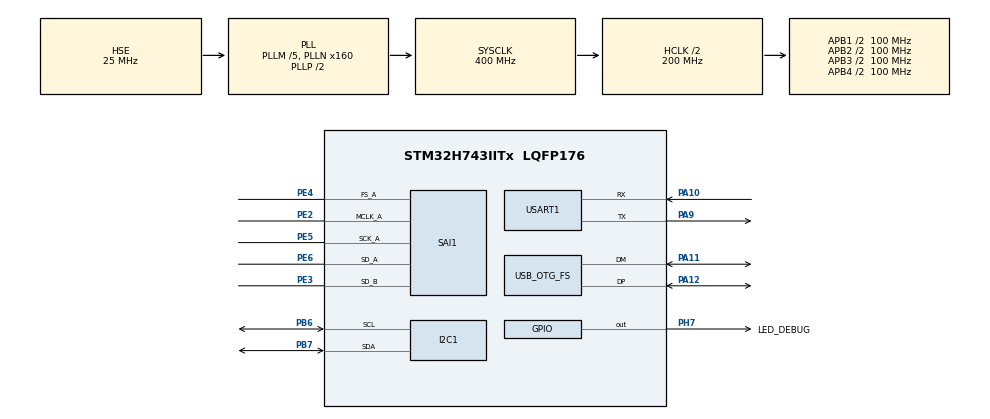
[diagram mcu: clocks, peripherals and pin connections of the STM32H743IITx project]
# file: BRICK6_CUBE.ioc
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CORTEX_M7.default_mode_Activation=1
Dma.Request0=SAI1_A
Dma.SAI1_A.0.Direction=DMA_MEMORY_TO_PERIPH
Dma.SAI1_A.0.EventEnable=DISABLE
Dma.SAI1_A.0.FIFOMode=DMA_FIFOMODE_ENABLE
Dma.SAI1_A.0.FIFOThreshold=DMA_FIFO_THRESHOLD_1QUARTERFULL
Dma.SAI1_A.0.Instance=DMA1_Stream0
Dma.SAI1_A.0.MemBurst=DMA_MBURST_SINGLE
Dma.SAI1_A.0.MemDataAlignment=DMA_MDATAALIGN_WORD
Dma.SAI1_A.0.MemInc=DMA_MINC_ENABLE
Dma.SAI1_A.0.Mode=DMA_CIRCULAR
Dma.SAI1_A.0.PeriphBurst=DMA_PBURST_SINGLE
Dma.SAI1_A.0.PeriphDataAlignment=DMA_PDATAALIGN_WORD
Dma.SAI1_A.0.PeriphInc=DMA_PINC_DISABLE
Dma.SAI1_A.0.Polarity=HAL_DMAMUX_REQ_GEN_RISING
Dma.SAI1_A.0.Priority=DMA_PRIORITY_HIGH
Dma.SAI1_A.0.RequestNumber=1
Dma.SAI1_A.0.SignalID=NONE
Dma.SAI1_A.0.SyncEnable=DISABLE
Dma.SAI1_A.0.SyncPolarity=HAL_DMAMUX_SYNC_NO_EVENT
Dma.SAI1_A.0.SyncRequestNumber=1
Dma.SAI1_A.0.SyncSignalID=NONE
I2C1.Timing=0x10C0ECFF
Mcu.Family=STM32H7
Mcu.Name=STM32H743IITx
Mcu.Package=LQFP176
NVIC.DMA1_Stream0_IRQn=true\:0\:0\:false\:false\:true\:false\:true\:true
NVIC.OTG_FS_IRQn=true\:5\:0\:true\:false\:true\:true\:true\:true
NVIC.PriorityGroup=NVIC_PRIORITYGROUP_4
NVIC.SAI1_IRQn=true\:5\:0\:true\:false\:true\:true\:true\:true
PA10.Mode=Asynchronous
PA10.Signal=USART1_RX
PA11.Mode=Device_Only
PA11.Signal=USB_OTG_FS_DM
PA12.Mode=Device_Only
PA12.Signal=USB_OTG_FS_DP
PA9.Mode=Asynchronous
PA9.Signal=USART1_TX
PB6.Mode=I2C
PB6.Signal=I2C1_SCL
PB7.Mode=I2C
PB7.Signal=I2C1_SDA
PE2.Mode=SAI_A_MasterWithClock
PE2.Signal=SAI1_MCLK_A
PE3.Mode=SAI_B_SyncSlave
PE3.Signal=SAI1_SD_B
PE4.Mode=SAI_A_MasterWithClock
PE4.Signal=SAI1_FS_A
PE5.Mode=SAI_A_MasterWithClock
PE5.Signal=SAI1_SCK_A
PE6.Mode=SAI_A_MasterWithClock
PE6.Signal=SAI1_SD_A
PH0-OSC_IN\ (PH0).Mode=HSE-External-Oscillator
PH0-OSC_IN\ (PH0).Signal=RCC_OSC_IN
PH1-OSC_OUT\ (PH1).Mode=HSE-External-Oscillator
PH1-OSC_OUT\ (PH1).Signal=RCC_OSC_OUT
PH7.GPIO_Label=LED_DEBUG
PH7.Signal=GPIO_Output
ProjectManager.HeapSize=0x200
ProjectManager.StackSize=0x400
ProjectManager.TargetToolchain=STM32CubeIDE
RCC.ADCFreq_Value=12288000.48828125
RCC.APB1Freq_Value=100000000
RCC.APB2Freq_Value=100000000
RCC.APB3Freq_Value=100000000
RCC.APB4Freq_Value=100000000
RCC.CortexFreq_Value=400000000
RCC.D1PPRE=RCC_APB3_DIV2
RCC.D2PPRE1=RCC_APB1_DIV2
RCC.D2PPRE2=RCC_APB2_DIV2
RCC.D3PPRE=RCC_APB4_DIV2
RCC.DIVM1=5
RCC.DIVM2=25
RCC.DIVM3=25
RCC.DIVN1=160
RCC.DIVN2=491
RCC.DIVN3=336
RCC.DIVP2=40
RCC.DIVQ1=4
RCC.DIVQ3=7
RCC.HCLKFreq_Value=200000000
RCC.HPRE=RCC_HCLK_DIV2
RCC.PLL2FRACN=4260
RCC.PLL3FRACN=0
RCC.PLLFRACN=0
RCC.PLLSourceVirtual=RCC_PLLSOURCE_HSE
RCC.SAI1CLockSelection=RCC_SAI1CLKSOURCE_PLL2
RCC.SYSCLKFreq_VALUE=400000000
RCC.SYSCLKSource=RCC_SYSCLKSOURCE_PLLCLK
RCC.USBCLockSelection=RCC_USBCLKSOURCE_PLL3
RCC.USBFreq_Value=48000000
SAI1.ActiveFrameLength-SAI_A_MasterWithClock=1
SAI1.AudioFrequency-SAI_A_MasterWithClock=SAI_AUDIO_FREQUENCY_48K
SAI1.AudioMode-SAI_A_MasterWithClock=SAI_MODEMASTER_TX
SAI1.DataSize-SAI_A_MasterWithClock=SAI_DATASIZE_24
SAI1.DataSize-SAI_B_SyncSlave=SAI_DATASIZE_24
SAI1.ErrorAudioFreq-SAI_A_MasterWithClock=0.0 %
SAI1.FIFOThreshold-SAI_A_MasterWithClock=SAI_FIFOTHRESHOLD_1QF
SAI1.FrameLength-SAI_A_MasterWithClock=256
SAI1.FrameLength-SAI_B_SyncSlave=256
SAI1.Instance-SAI_A_MasterWithClock=SAI$Index_Block_A
SAI1.Instance-SAI_B_SyncSlave=SAI$Index_Block_B
SAI1.MClockEnable-SAI_A_MasterWithClock=SAI_MASTERCLOCK_ENABLE
SAI1.RealAudioFreq-SAI_A_MasterWithClock=48.0 KHz
SAI1.SlotActive-SAI_A_MasterWithClock=0x0000000F
SAI1.SlotActive-SAI_B_SyncSlave=0x0000FFFF
SAI1.SlotNumber-SAI_A_MasterWithClock=8
SAI1.SlotNumber-SAI_B_SyncSlave=8
SAI1.SlotSize-SAI_A_MasterWithClock=SAI_SLOTSIZE_32B
SAI1.SlotSize-SAI_B_SyncSlave=SAI_SLOTSIZE_32B
SAI1.SynchroExt=SAI_SYNCEXT_OUTBLOCKA_ENABLE
SAI1.VirtualMode-SAI_A_MasterWithClock=VM_MASTER
SAI1.VirtualMode-SAI_B_SyncSlave=VM_SLAVE
SAI1.VirtualSlotActive-SAI_A_MasterWithClock=SAI_SLOT_USERSETTING
SAI1.VirtualSlotActive-SAI_B_SyncSlave=SAI_SLOTACTIVE_ALL
SAI1.VirtualSlotActive0-SAI_A_MasterWithClock=true
SAI1.VirtualSlotActive1-SAI_A_MasterWithClock=true
SAI1.VirtualSlotActive2-SAI_A_MasterWithClock=true
SAI1.VirtualSlotActive3-SAI_A_MasterWithClock=true
USART1.VirtualMode-Asynchronous=VM_ASYNC
USB_DEVICE.CLASS_NAME_FS=AUDIO
USB_DEVICE.USBD_AUDIO_FREQ-AUDIO_FS=48000
USB_DEVICE.VirtualMode-AUDIO_FS=Audio
USB_DEVICE.VirtualModeFS=Audio_FS
USB_OTG_FS.VirtualMode=Device_Only
VP_MEMORYMAP_VS_MEMORYMAP.Mode=CurAppReg
VP_SAI1_VP_$IpInstance_SYNCHRO_EXTERNAL.Mode=SynchroExternal
VP_USB_DEVICE_VS_USB_DEVICE_AUDIO_FS.Mode=AUDIO_FS
board=custom

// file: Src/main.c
/* USER CODE BEGIN Header */
/**
  ******************************************************************************
  * @file           : main.c
  * @brief          : Main program body
  ******************************************************************************
  * @attention
  *
  * Copyright (c) 2026 STMicroelectronics.
  * All rights reserved.
  *
  * This software is licensed under terms that can be found in the LICENSE file
  * in the root directory of this software component.
  * If no LICENSE file comes with this software, it is provided AS-IS.
  *
  ******************************************************************************
  */
/* USER CODE END Header */
#include "main.h"
#include "dma.h"
#include "i2c.h"
#include "sai.h"
#include "usart.h"
#include "usb_device.h"
#include "gpio.h"

/* USER CODE BEGIN Includes */
#include <stdio.h>
#include <string.h>
#include "adau1979.h"
#include "audio_in.h"
#include "audio_out.h"
/* USER CODE END Includes */

void SystemClock_Config(void);
void PeriphCommonClock_Config(void);
static void MPU_Config(void);

/* USER CODE BEGIN 0 */

static void uart_log(const char *message)
{
  (void)HAL_UART_Transmit(&huart1, (uint8_t *)message, (uint16_t)strlen(message), 10);
}
static void compute_audio_freq(void)
{
  char buf[256];

  uint32_t sai_clk = HAL_RCCEx_GetPeriphCLKFreq(RCC_PERIPHCLK_SAI1);

  // MCKDIV bits = CR1[23:20]
  uint32_t mckdiv = (SAI1_Block_A->CR1 >> 20) & 0xF;
  uint32_t presc = (mckdiv == 0) ? 1 : (mckdiv * 2);

  // 8 slots * 32 bits = 256 bits par frame
  uint32_t fs = sai_clk / (256 * presc);

  snprintf(buf, sizeof(buf),
           "AUDIO COMPUTE:\r\n"
           "  SAI_CLK = %lu Hz\r\n"
           "  MCKDIV  = %lu\r\n"
           "  FS      = %lu Hz (expected ~48000)\r\n\r\n",
           sai_clk, mckdiv, fs);

  uart_log(buf);
}

static void dump_sai_regs(void)
{
  char buf[256];
  SAI_Block_TypeDef *A = SAI1_Block_A;

  snprintf(buf, sizeof(buf),
           "SAI1 REG:\r\n"
           "  CR1=0x%08lX CR2=0x%08lX\r\n"
           "  FRCR=0x%08lX SLOTR=0x%08lX\r\n"
           "  SR=0x%08lX CLRFR=0x%08lX\r\n\r\n",
           (unsigned long)A->CR1,
           (unsigned long)A->CR2,
           (unsigned long)A->FRCR,
           (unsigned long)A->SLOTR,
           (unsigned long)A->SR,
           (unsigned long)A->CLRFR);

  uart_log(buf);
}
static void dump_audio_state(const char *tag)
{
  char buf[256];

  uint32_t sai_clk = HAL_RCCEx_GetPeriphCLKFreq(RCC_PERIPHCLK_SAI1);
  uint32_t cr1 = SAI1_Block_A->CR1;
  uint32_t mckdiv = (cr1 >> 20) & 0xF;

  snprintf(buf, sizeof(buf),
           "\r\n[%s]\r\nSAI_CLK=%lu Hz CR1=0x%08lX MCKDIV=%lu\r\n",
           tag,
           (unsigned long)sai_clk,
           (unsigned long)cr1,
           (unsigned long)mckdiv);

  uart_log(buf);
}

/* USER CODE END 0 */

int main(void)
{

  /* MPU Configuration--------------------------------------------------------*/
  MPU_Config();

  /* MCU Configuration--------------------------------------------------------*/

  /* Reset of all peripherals, Initializes the Flash interface and the Systick. */
  HAL_Init();

  /* Configure the system clock */
  SystemClock_Config();

  /* Configure the peripherals common clocks */
  PeriphCommonClock_Config();

  /* USER CODE BEGIN SysInit */
  {
    char buf[256];

    uint32_t sai_clk = HAL_RCCEx_GetPeriphCLKFreq(RCC_PERIPHCLK_SAI1);
    uint32_t pll1_q = HAL_RCC_GetSysClockFreq();
    uint32_t hclk = HAL_RCC_GetHCLKFreq();
    uint32_t pclk1 = HAL_RCC_GetPCLK1Freq();
    uint32_t pclk2 = HAL_RCC_GetPCLK2Freq();

    snprintf(buf, sizeof(buf),
             "\r\nCLOCKS:\r\n"
             "  SAI1 clk = %lu Hz\r\n"
             "  SYSCLK   = %lu Hz\r\n"
             "  HCLK     = %lu Hz\r\n"
             "  PCLK1    = %lu Hz\r\n"
             "  PCLK2    = %lu Hz\r\n\r\n",
             sai_clk, pll1_q, hclk, pclk1, pclk2);

    uart_log(buf);
  }

  /* USER CODE END SysInit */

  /* Initialize all configured peripherals */
  MX_GPIO_Init();
  MX_DMA_Init();
  MX_SAI1_Init();
  MX_USART1_UART_Init();
  MX_I2C1_Init();
  MX_USB_DEVICE_Init();
  /* USER CODE BEGIN 2 */
  char log_buffer[128];
  AudioOut_Init(&hsai_BlockA1);
  AudioIn_Init(&hsai_BlockB1);
  adau1979_init_all();

  uart_log("SAI1 PCM4104 audio start\r\n");
  AudioOut_Start();
  dump_audio_state("after AudioOut_Start");
  dump_sai_regs();
  compute_audio_freq();

  (void)HAL_SAI_Receive_DMA(&hsai_BlockB1,
                            (uint8_t *)AudioIn_GetBuffer(),
                            AudioIn_GetBufferSamples());
  uart_log("SAI1 DMA started\r\n");

  HAL_Delay(200);        // on laisse le DMA démarrer
  AudioOut_DebugDump();
  AudioIn_DebugDump();

  /* USER CODE END 2 */

  /* Infinite loop */
  while (1)
  {

    /* USER CODE BEGIN 3 */
    static uint32_t last_led_tick = 0;
    static uint32_t last_log_tick = 0;
    static uint32_t last_error = 0;
    uint32_t now = HAL_GetTick();

    if ((now - last_led_tick) >= 500U)
    {
      HAL_GPIO_TogglePin(LED_DEBUG_GPIO_Port, LED_DEBUG_Pin);
      last_led_tick = now;
    }

    if ((now - last_log_tick) >= 1000U)
    {
      uint32_t error = HAL_SAI_GetError(&hsai_BlockA1);
      uint32_t half = AudioOut_GetHalfEvents();
      uint32_t full = AudioOut_GetFullEvents();
      uint32_t rx_half = AudioIn_GetHalfEvents();
      uint32_t rx_full = AudioIn_GetFullEvents();

      uint32_t frames_per_sec = full * 512;  // 512 = AUDIO_BUFFER_FRAMES

      snprintf(log_buffer, sizeof(log_buffer),
               "SAI TX state=%lu err=0x%08lX tx_half=%lu tx_full=%lu rx_half=%lu rx_full=%lu frames/s=%lu\r\n",
               (unsigned long)hsai_BlockA1.State,
               (unsigned long)error,
               (unsigned long)half,
               (unsigned long)full,
               (unsigned long)rx_half,
               (unsigned long)rx_full,
               (unsigned long)frames_per_sec);

      uart_log(log_buffer);

      uart_log(log_buffer);

      if (error != 0U && error != last_error)
      {
        snprintf(log_buffer, sizeof(log_buffer),
                 "SAI error detected: 0x%08lX\r\n", (unsigned long)error);
        uart_log(log_buffer);
        last_error = error;
      }

      last_log_tick = now;
    }
  }
  /* USER CODE END 3 */
}

void SystemClock_Config(void)
{
  RCC_OscInitTypeDef RCC_OscInitStruct = {0};
  RCC_ClkInitTypeDef RCC_ClkInitStruct = {0};

  /** Supply configuration update enable
  */
  HAL_PWREx_ConfigSupply(PWR_LDO_SUPPLY);

  /** Configure the main internal regulator output voltage
  */
  __HAL_PWR_VOLTAGESCALING_CONFIG(PWR_REGULATOR_VOLTAGE_SCALE1);

  while(!__HAL_PWR_GET_FLAG(PWR_FLAG_VOSRDY)) {}

  /** Initializes the RCC Oscillators according to the specified parameters
  * in the RCC_OscInitTypeDef structure.
  */
  RCC_OscInitStruct.OscillatorType = RCC_OSCILLATORTYPE_HSE;
  RCC_OscInitStruct.HSEState = RCC_HSE_ON;
  RCC_OscInitStruct.PLL.PLLState = RCC_PLL_ON;
  RCC_OscInitStruct.PLL.PLLSource = RCC_PLLSOURCE_HSE;
  RCC_OscInitStruct.PLL.PLLM = 5;
  RCC_OscInitStruct.PLL.PLLN = 160;
  RCC_OscInitStruct.PLL.PLLP = 2;
  RCC_OscInitStruct.PLL.PLLQ = 4;
  RCC_OscInitStruct.PLL.PLLR = 2;
  RCC_OscInitStruct.PLL.PLLRGE = RCC_PLL1VCIRANGE_2;
  RCC_OscInitStruct.PLL.PLLVCOSEL = RCC_PLL1VCOWIDE;
  RCC_OscInitStruct.PLL.PLLFRACN = 0;
  if (HAL_RCC_OscConfig(&RCC_OscInitStruct) != HAL_OK)
  {
    Error_Handler();
  }

  /** Initializes the CPU, AHB and APB buses clocks
  */
  RCC_ClkInitStruct.ClockType = RCC_CLOCKTYPE_HCLK|RCC_CLOCKTYPE_SYSCLK
                              |RCC_CLOCKTYPE_PCLK1|RCC_CLOCKTYPE_PCLK2
                              |RCC_CLOCKTYPE_D3PCLK1|RCC_CLOCKTYPE_D1PCLK1;
  RCC_ClkInitStruct.SYSCLKSource = RCC_SYSCLKSOURCE_PLLCLK;
  RCC_ClkInitStruct.SYSCLKDivider = RCC_SYSCLK_DIV1;
  RCC_ClkInitStruct.AHBCLKDivider = RCC_HCLK_DIV2;
  RCC_ClkInitStruct.APB3CLKDivider = RCC_APB3_DIV2;
  RCC_ClkInitStruct.APB1CLKDivider = RCC_APB1_DIV2;
  RCC_ClkInitStruct.APB2CLKDivider = RCC_APB2_DIV2;
  RCC_ClkInitStruct.APB4CLKDivider = RCC_APB4_DIV2;

  if (HAL_RCC_ClockConfig(&RCC_ClkInitStruct, FLASH_LATENCY_2) != HAL_OK)
  {
    Error_Handler();
  }
}

void PeriphCommonClock_Config(void)
{
  RCC_PeriphCLKInitTypeDef PeriphClkInitStruct = {0};

  /** Initializes the peripherals clock
  */
  PeriphClkInitStruct.PeriphClockSelection = RCC_PERIPHCLK_SAI1;
  PeriphClkInitStruct.PLL2.PLL2M = 25;
  PeriphClkInitStruct.PLL2.PLL2N = 491;
  PeriphClkInitStruct.PLL2.PLL2P = 40;
  PeriphClkInitStruct.PLL2.PLL2Q = 2;
  PeriphClkInitStruct.PLL2.PLL2R = 2;
  PeriphClkInitStruct.PLL2.PLL2RGE = RCC_PLL2VCIRANGE_0;
  PeriphClkInitStruct.PLL2.PLL2VCOSEL = RCC_PLL2VCOWIDE;
  PeriphClkInitStruct.PLL2.PLL2FRACN = 4260;
  PeriphClkInitStruct.Sai1ClockSelection = RCC_SAI1CLKSOURCE_PLL2;
  if (HAL_RCCEx_PeriphCLKConfig(&PeriphClkInitStruct) != HAL_OK)
  {
    Error_Handler();
  }
}

/* USER CODE BEGIN 4 */

void HAL_SAI_TxHalfCpltCallback(SAI_HandleTypeDef *hsai)
{
  if (hsai->Instance == SAI1_Block_A)
  {
    AudioOut_ProcessHalf();
  }
}

void HAL_SAI_TxCpltCallback(SAI_HandleTypeDef *hsai)
{
  if (hsai->Instance == SAI1_Block_A)
  {
    AudioOut_ProcessFull();
  }
}

void HAL_SAI_RxHalfCpltCallback(SAI_HandleTypeDef *hsai)
{
  if (hsai->Instance == SAI1_Block_B)
  {
    AudioIn_ProcessHalf();
  }
}

void HAL_SAI_RxCpltCallback(SAI_HandleTypeDef *hsai)
{
  if (hsai->Instance == SAI1_Block_B)
  {
    AudioIn_ProcessFull();
  }
}

/* USER CODE END 4 */

 /* MPU Configuration */

void MPU_Config(void)
{
  MPU_Region_InitTypeDef MPU_InitStruct = {0};

  /* Disables the MPU */
  HAL_MPU_Disable();

  /** Initializes and configures the Region and the memory to be protected
  */
  MPU_InitStruct.Enable = MPU_REGION_ENABLE;
  MPU_InitStruct.Number = MPU_REGION_NUMBER0;
  MPU_InitStruct.BaseAddress = 0x0;
  MPU_InitStruct.Size = MPU_REGION_SIZE_4GB;
  MPU_InitStruct.SubRegionDisable = 0x87;
  MPU_InitStruct.TypeExtField = MPU_TEX_LEVEL0;
  MPU_InitStruct.AccessPermission = MPU_REGION_NO_ACCESS;
  MPU_InitStruct.DisableExec = MPU_INSTRUCTION_ACCESS_DISABLE;
  MPU_InitStruct.IsShareable = MPU_ACCESS_SHAREABLE;
  MPU_InitStruct.IsCacheable = MPU_ACCESS_NOT_CACHEABLE;
  MPU_InitStruct.IsBufferable = MPU_ACCESS_NOT_BUFFERABLE;

  HAL_MPU_ConfigRegion(&MPU_InitStruct);
  /* Enables the MPU */
  HAL_MPU_Enable(MPU_PRIVILEGED_DEFAULT);

}

void Error_Handler(void)
{
  __disable_irq();
  while (1)
  {
  }
}
